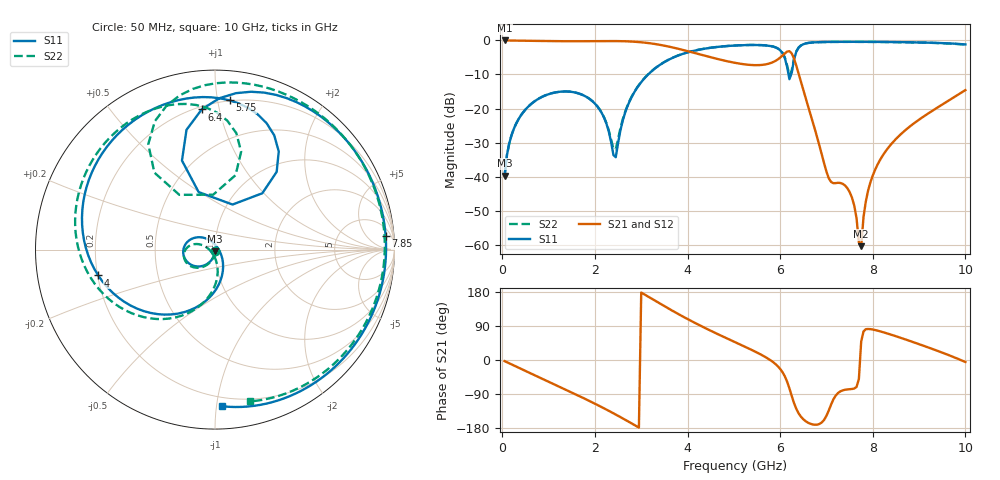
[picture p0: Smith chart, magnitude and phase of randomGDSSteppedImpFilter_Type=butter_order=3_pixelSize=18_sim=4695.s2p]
! freq	dB(S11)	phase(S11)	dB(S12)	phase(S12)
!  dB(S21)	phase(S21)	dB(S22)	phase(S22)
!S-par simulation data
#  GHz  S  DB  R 50
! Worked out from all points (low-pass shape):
!   200 points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, 50 MHz to 10 GHz, reference 50 ohm
!   highest |S21| = -0.01 dB at 50 MHz (marker M1); lowest = -60.5 dB at 7.75 GHz (marker M2)
!   |S21| within 3 dB of the highest: start of sweep to 3.961 GHz
!   lowest |S11| = -39.7 dB at 50 MHz (marker M3), VSWR 1.02, Z = 49.9 - j1.03 ohm
!   |S11| at or under -10 dB: start of sweep to 3.149 GHz; 6.181 GHz to 6.238 GHz (56.76 MHz wide, 0.914 % of centre)
!   |S22| runs from -39.7 to -0.4 dB; largest |S21 - S12| = 0
!   S11 on the Smith chart (normalised r, x): 50 MHz: 1.00, -0.02; 4 GHz: 0.20, -0.10; 5.75 GHz: 0.20, +1.08; 6.4 GHz: 0.22, +0.89; 7.85 GHz: 11, +19; 10 GHz: 0.14, -1.04
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0.05  -39.70 -92.5  -0.01 -2.9  -0.01 -2.9  -39.69 -92.2
0.2  -27.82 -102.1  -0.03 -11.6  -0.03 -11.6  -27.81 -101.0
0.55  -19.59 -123.7  -0.09 -31.7  -0.09 -31.7  -19.58 -120.7
1.75  -16.12 162.3  -0.23 -100.3  -0.23 -100.3  -16.11 176.3
2.15  -21.38 131.2  -0.19 -124.6  -0.19 -124.6  -21.32 160.8
2.45  -34.30 11.9  -0.19 -143.9  -0.19 -143.9  -31.99 -125.0
2.75  -17.84 -70.2  -0.30 -164.3  -0.30 -164.3  -17.69 -83.5
3.4  -7.21 -124.1  -1.28 149.2  -1.28 149.2  -7.17 -120.3
4  -3.52 -167.5  -3.14 108.1  -3.14 108.1  -3.49 -158.3
5.05  -1.48 127.5  -6.64 45.8  -6.64 45.8  -1.46 143.7
5.75  -1.56 84.4  -6.84 2.7  -6.84 2.7  -1.54 104.6
6.05  -3.72 57.0  -4.44 -32.0  -4.44 -32.0  -3.62 79.6
6.2  -11.39 68.7  -3.15 -74.8  -3.15 -74.8  -10.29 91.9
6.3  -5.53 110.4  -5.35 -113.8  -5.35 -113.8  -5.26 128.2
6.4  -2.11 95.4  -9.84 -141.0  -9.84 -141.0  -2.04 115.0
6.7  -0.60 64.7  -23.79 -170.0  -23.79 -170.0  -0.60 86.0
7.05  -0.43 43.2  -40.52 -133.2  -40.52 -133.2  -0.44 65.2
7.55  -0.40 18.2  -46.16 -76.5  -46.16 -76.5  -0.42 39.9
7.75  -0.41 9.0  -60.45 48.9  -60.45 48.9  -0.42 30.3
7.85  -0.41 4.5  -47.30 81.4  -47.30 81.4  -0.43 25.6
8.35  -0.46 -17.3  -31.27 68.7  -31.27 68.7  -0.48 2.2
10  -1.17 -87.3  -14.59 -5.4  -14.59 -5.4  -1.22 -76.9
